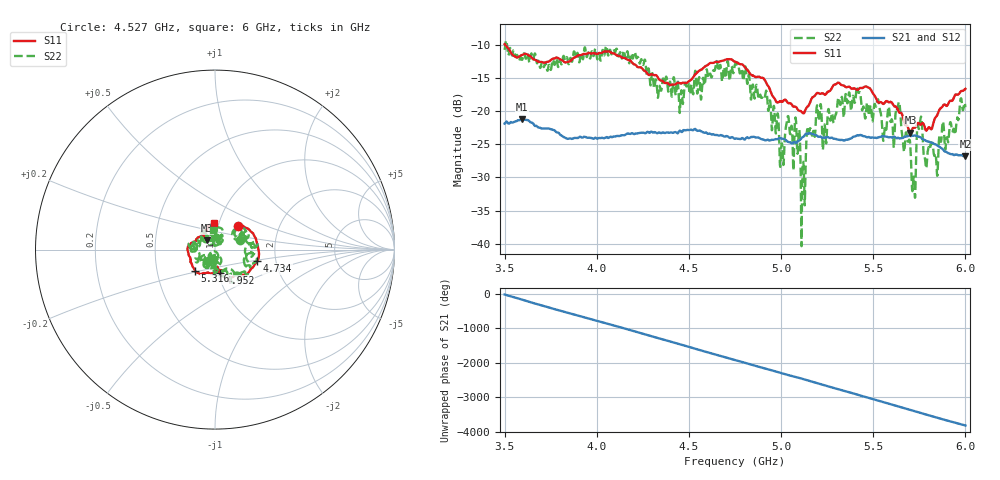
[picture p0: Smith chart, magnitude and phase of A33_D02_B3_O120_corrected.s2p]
! Created with skrf 1.9.0 (http://scikit-rf.org).
# Hz S RI R 50.0
!freq ReS11 ImS11 ReS21 ImS21 ReS12 ImS12 ReS22 ImS22
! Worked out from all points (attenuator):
!   1601 points, 3.5 GHz to 6 GHz, reference 50 ohm
!   highest |S21| = -21.22 dB at 3.594 GHz (marker M1); lowest = -26.8 dB at 6 GHz (marker M2)
!   lowest |S11| = -23.2 dB at 5.702 GHz (marker M3), VSWR 1.15, Z = 45.3 + j4.65 ohm
!   |S11| at or under -10 dB: 3.504 GHz to end of sweep
!   |S22| runs from -40.4 to -9.3 dB; largest |S21 - S12| = 0.00098
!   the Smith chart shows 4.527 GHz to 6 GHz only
!   S11 on the Smith chart (normalised r, x): 4.527 GHz: 1.24, +0.34; 4.734 GHz: 1.60, -0.22; 4.952 GHz: 1.02, -0.27; 5.316 GHz: 0.78, -0.19; 6 GHz: 0.94, +0.28
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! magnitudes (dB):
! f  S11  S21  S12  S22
! 3.5 GHz  -9.9  -21.9  -21.9  -10.7
! 3.594 GHz  -11.5  -21.2  -21.2  -12.3
! 3.917 GHz  -11.5  -24.0  -23.9  -11.2
! 4.213 GHz  -13.1  -23.4  -23.4  -11.8
! 4.334 GHz  -15.0  -23.2  -23.2  -17.4
! 4.527 GHz  -14.7  -22.8  -22.8  -16.6
! 4.734 GHz  -12.2  -23.9  -23.9  -13.5
! 4.75 GHz  -12.5  -24.2  -24.1  -12.9
! 4.952 GHz  -17.6  -24.3  -24.3  -22.8
! 5.005 GHz  -18.5  -24.1  -24.2  -24.8
! 5.033 GHz  -18.6  -24.6  -24.5  -21.3
! 5.088 GHz  -19.6  -24.7  -24.7  -26.1
! 5.119 GHz  -20.3  -23.9  -23.8  -27.7
! 5.167 GHz  -18.0  -23.4  -23.4  -23.7
! 5.316 GHz  -15.7  -24.3  -24.3  -18.3
! 5.584 GHz  -18.7  -23.9  -23.9  -19.3
! 5.636 GHz  -20.0  -24.0  -24.0  -19.0
! 5.702 GHz  -23.2  -23.7  -23.7  -25.4
! 5.719 GHz  -22.5  -23.7  -23.6  -30.0
! 5.752 GHz  -21.9  -23.9  -23.8  -22.1
! 5.841 GHz  -20.9  -25.0  -25.0  -27.0
! 6 GHz  -16.6  -26.8  -26.7  -19.4
